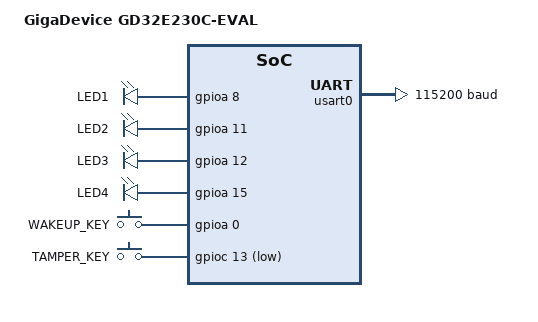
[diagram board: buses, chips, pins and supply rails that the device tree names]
/*
 * Copyright (c) 2026 GigaDevice Semiconductor Inc.
 *
 * SPDX-License-Identifier: Apache-2.0
 */

/dts-v1/;

#include <gd/gd32e23x/gd32e230c8.dtsi>
#include <zephyr/dt-bindings/input/input-event-codes.h>
#include "gd32e230c_eval-pinctrl.dtsi"

/ {
	model = "GigaDevice GD32E230C-EVAL";
	compatible = "gd,gd32e230c-eval";

	chosen {
		zephyr,flash = &flash0;
		zephyr,sram = &sram0;
		zephyr,console = &usart0;
		zephyr,shell-uart = &usart0;
		zephyr,flash-controller = &fmc;
	};

	leds {
		compatible = "gpio-leds";

		led1: led1 {
			gpios = <&gpioa 8 GPIO_ACTIVE_HIGH>;
			label = "LED1";
		};

		led2: led2 {
			gpios = <&gpioa 11 GPIO_ACTIVE_HIGH>;
			label = "LED2";
		};

		led3: led3 {
			gpios = <&gpioa 12 GPIO_ACTIVE_HIGH>;
			label = "LED3";
		};

		led4: led4 {
			gpios = <&gpioa 15 GPIO_ACTIVE_HIGH>;
			label = "LED4";
		};
	};

	gpio_keys {
		compatible = "gpio-keys";

		wakeup_key: wakeup_key {
			label = "WAKEUP_KEY";
			gpios = <&gpioa 0 GPIO_ACTIVE_HIGH>;
			zephyr,code = <INPUT_KEY_WAKEUP>;
		};

		tamper_key: tamper_key {
			label = "TAMPER_KEY";
			gpios = <&gpioc 13 GPIO_ACTIVE_LOW>;
			zephyr,code = <INPUT_KEY_0>;
		};
	};

	aliases {
		led0 = &led1;
		led1 = &led2;
		led2 = &led3;
		led3 = &led4;
		sw0 = &wakeup_key;
		sw1 = &tamper_key;
	};
};

&gpioa {
	status = "okay";
};

&gpioc {
	status = "okay";
};

&usart0 {
	status = "okay";
	current-speed = <115200>;
	pinctrl-0 = <&usart0_default>;
	pinctrl-names = "default";
};
